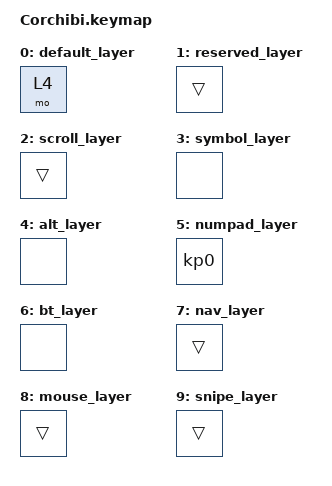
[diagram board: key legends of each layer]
#include <behaviors.dtsi>
#include <dt-bindings/zmk/bt.h>
#include <dt-bindings/zmk/keys.h>
#include <dt-bindings/zmk/mouse.h>

/ {
    behaviors {
        hm: homerow_mod {
            compatible = "zmk,behavior-hold-tap";
            #binding-cells = <2>;
            tapping-term-ms = <200>;
            quick-tap-ms = <150>;
            require-prior-idle-ms = <200>;
            flavor = "balanced";
            bindings = <&kp>, <&kp>;
        };
    };

    macros {
        bracket: bracket {
            compatible = "zmk,behavior-macro";
            #binding-cells = <0>;
            wait-ms = <30>;
            tap-ms = <30>;
            bindings
                = <&kp LANG2>
                , <&macro_press &kp LSHFT>
                , <&macro_tap &kp N9 &kp N0>
                , <&macro_release &kp LSHFT>
                , <&macro_tap &kp LEFT &kp LANG1>
                ;
        };

        launcher: launcher {
            compatible = "zmk,behavior-macro";
            #binding-cells = <0>;
            wait-ms = <30>;
            tap-ms = <30>;
            bindings
                = <&macro_press &kp LALT &kp LGUI>
                , <&macro_tap &kp SPACE>
                , <&macro_release &kp LALT &kp LGUI>
                ;
        };
    };

    combos {
        compatible = "zmk,combos";

        combo_capslock {
            key-positions = <13 38>;  /* F + J */
            bindings = <&kp CAPSLOCK>;
        };

        combo_printscreen {
            key-positions = <37 35 32>;  /* U + I + O */
            bindings = <&kp PRINTSCREEN>;
        };

        combo_lang2 {
            key-positions = <11 13>;  /* D + F */
            bindings = <&kp LANG2>;
        };

        combo_lang1 {
            key-positions = <36 38>;  /* K + J */
            bindings = <&kp LANG1>;
        };

        combo_mouse_toggle {
            key-positions = <38 36 46>;  /* J + K + L */
            bindings = <&tog 8>;
        };
    };

    keymap {
        compatible = "zmk,keymap";

        /* Layer 0: Default QWERTY + Homerow Mods */
        default_layer {
            bindings = <
/* Left: col 0-24 */
   &kp ESC    &kp TAB    &kp LSHFT   &kp LCTRL
   &hm RSHFT A   &kp Z   &kp LALT   &kp W
   &kp X   &kp LGUI   &kp E    &hm LALT D
   &kp R    &hm LGUI F    &kp V    &mo 3
   &lt 7 G  &kp B    &mo 5    &kp C_VOL_DN
   &kp Q    &hm LCTRL S   &kp C    &kp T    &lt 8 SPACE

/* Right: col 25-49 */
   &kp MINUS  &lt 6 RET   &kp RSHFT  &kp RIGHT
   &hm LSHFT SEMI  &kp MINUS  &kp DOWN  &kp O
   &kp DOT   &kp LEFT  &lt 2 I   &hm RALT K
   &kp U     &hm RGUI J    &kp M     &none
   &kp H     &kp N     &kp BSPC   &kp C_VOL_UP
   &kp P     &hm RCTRL L   &kp COMMA  &kp Y     &mo 4
            >;
        };

        /* Layer 1: 予備（将来用） */
        reserved_layer {
            bindings = <
&trans &trans &trans &trans
&trans &trans &trans &trans
&trans &trans &trans &trans
&trans &trans &trans &trans
&trans &trans &trans &trans
&trans &trans &trans &trans &trans

&trans &trans &trans &trans
&trans &trans &trans &trans
&trans &trans &trans &trans
&trans &trans &trans &trans
&trans &trans &trans &trans
&trans &trans &trans &trans &trans
            >;
        };

        /* Layer 2: Scroll (trackball Y-axis → scroll, activated by I hold) */
        scroll_layer {
            bindings = <
&trans &trans &trans &trans
&trans &trans &trans &trans
&trans &trans &trans &trans
&trans &trans &trans &trans
&trans &trans &trans &trans
&trans &trans &trans &trans &trans

&trans &trans &trans &trans
&trans &trans &trans &trans
&trans &trans &trans &trans
&trans &trans &trans &trans
&trans &trans &trans &trans
&trans &trans &trans &trans &trans
            >;
        };

        /* Layer 3: Symbols */
        symbol_layer {
            bindings = <
/* Left */
&none      &none      &none      &none
&kp AT     &kp GRAVE  &none      &kp DQT
&kp STAR   &none      &kp EXCL   &kp DLLR
&kp LS(LG(N5)) &kp LG(EQUAL) &kp LG(MINUS) &trans
&kp LS(LG(DOWN)) &kp BSLH &none &none
&kp SQT    &kp SEMI   &kp COLON  &kp TILDE  &none

/* Right */
&kp EQUAL  &kp EXCL   &kp QMARK  &none
&kp PIPE   &kp FSLH   &kp LG(FSLH) &kp RPAR
&none      &none      &kp RPAR   &kp RBKT
&kp LPAR   &kp LBKT   &kp LBRC   &none
&kp HASH   &kp AMPS   &none      &none
&kp PRCNT  &kp RBKT   &kp RBRC   &kp CARET  &none
            >;
        };

        /* Layer 4: Alt Combos (Aerospace) */
        alt_layer {
            bindings = <
/* Left */
&trans      &trans      &trans      &trans
&kp LA(A)   &kp LA(Z)   &trans      &kp LA(W)
&kp LA(X)   &trans      &kp LA(E)   &kp LA(D)
&kp LA(R)   &kp LA(F)   &kp LA(V)   &none
&kp LA(G)   &kp LA(B)   &none       &none
&kp LA(Q)   &kp LA(S)   &kp LA(C)   &kp LA(T)   &none

/* Right */
&none &none &none &none
&none &none &none &none
&none &none &none &kp K
&none &kp J &none &trans
&none &none &none &none
&none &none &none &none &none
            >;
        };

        /* Layer 5: Numpad */
        numpad_layer {
            bindings = <
/* Left */
&none     &none     &none     &none
&bracket  &none     &none     &none
&none     &none     &none     &none
&none     &kp F10   &none     &none
&none     &none     &trans    &none
&none     &none     &none     &none     &none

/* Right */
&none          &none         &kp COMMA    &none
&kp KP_DIVIDE  &kp KP_DOT   &none        &kp KP_N9
&kp KP_N3      &none         &kp KP_N8   &kp KP_N5
&kp KP_N7      &kp KP_N4    &kp KP_N1   &none
&kp KP_MINUS   &kp KP_PLUS  &kp BSPC    &none
&kp EQUAL      &kp KP_N6    &kp KP_N2   &kp KP_MULTIPLY  &kp KP_N0
            >;
        };

        /* Layer 6: BT & Special */
        bt_layer {
            bindings = <
/* Left */
&none      &none      &none      &none
&launcher  &none      &none      &none
&none      &none      &kp LC(LA(LG(E))) &none
&none      &none      &kp LC(LA(LG(C))) &none
&none      &none      &none      &none
&none      &kp LC(LA(LG(S))) &none &none &none

/* Right */
&bt BT_SEL 0 &trans    &bt BT_SEL 2 &bt BT_SEL 3
&bt BT_SEL 1 &none     &none        &none
&none        &none     &none        &none
&none        &none     &none        &none
&none        &none     &none        &none
&none        &none     &none        &bt BT_CLR &none
            >;
        };

        /* Layer 7: HJKL Navigation (G hold) */
        nav_layer {
            bindings = <
&trans &trans &trans &trans
&trans &trans &trans &trans
&trans &trans &trans &trans
&trans &trans &trans &trans
&trans &trans &trans &trans
&trans &trans &trans &trans &trans

&trans &trans &trans &trans
&trans &trans &trans &trans
&trans &trans &trans &kp UP
&trans &kp DOWN &trans &trans
&kp LEFT &trans &trans &trans
&trans &kp RIGHT &trans &trans &trans
            >;
        };

        /* Layer 8: Mouse (auto-mouse + SPACE hold + J+K+L toggle)
         *
         * Right hand:
         * U = browser back (Cmd+←)
         * O = browser forward (Cmd+→)
         * J = left click (MB1)
         * K = middle click (MB3)
         * L = right click (MB2)
         * A(left) = scroll mode (mo 2)
         * M = Page Up
         * . = Page Down
         */
        mouse_layer {
            bindings = <
/* Left */
&trans &trans &trans &trans
&mo 2  &mo 9  &trans &trans
&trans &trans &trans &trans
&trans &trans &trans &trans
&trans &trans &trans &trans
&trans &trans &trans &trans &trans

/* Right */
&trans &trans &trans &trans
&trans &trans &trans &kp LG(RIGHT)
&kp PG_DN &trans &trans &mo 2
&kp LG(LEFT) &mkp MB1 &kp PG_UP &trans
&trans &trans &trans &trans
&trans &mkp MB2 &trans &trans &trans
            >;
        };

        /* Layer 9: Snipe (Z hold in mouse layer, slow cursor for precise selection) */
        snipe_layer {
            bindings = <
&trans &trans &trans &trans
&trans &trans &trans &trans
&trans &trans &trans &trans
&trans &trans &trans &trans
&trans &trans &trans &trans
&trans &trans &trans &trans &trans

&trans &trans &trans &trans
&trans &trans &trans &trans
&trans &trans &trans &trans
&trans &mkp MB1 &trans &trans
&trans &trans &trans &trans
&trans &mkp MB2 &trans &trans &trans
            >;
        };
    };
};
